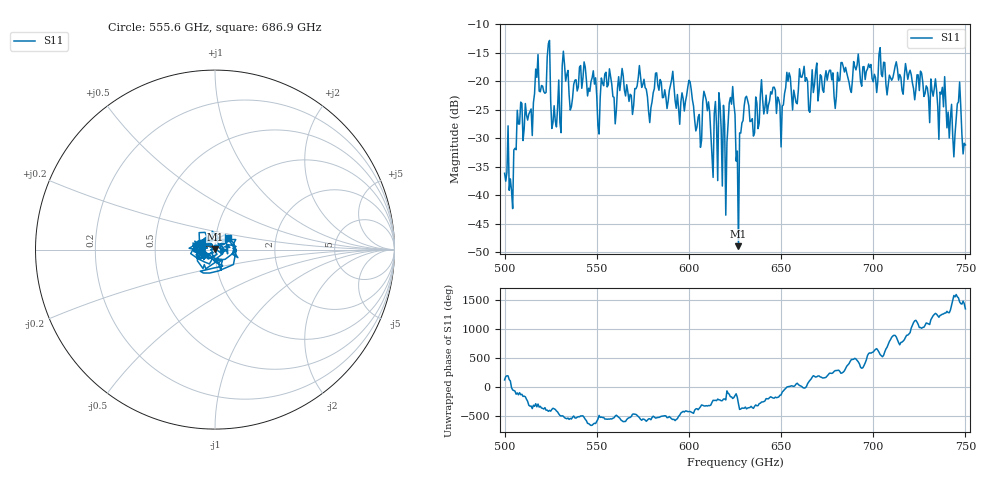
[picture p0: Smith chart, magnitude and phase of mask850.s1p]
!Created with skrf (http://scikit-rf.org).
# GHz S MA R 50.0
!freq magS11 angS11
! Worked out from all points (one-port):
!   401 points, 500 GHz to 750 GHz, reference 50 ohm
!   lowest |S11| = -49.0 dB at 626.9 GHz (marker M1), VSWR 1.01, Z = 50.1 + j0.335 ohm
!   |S11| at or under -10 dB: start of sweep to end of sweep
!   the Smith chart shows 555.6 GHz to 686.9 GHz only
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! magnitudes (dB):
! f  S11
! 500 GHz  -36.2
! 503.8 GHz  -39.2
! 508.1 GHz  -27.5
! 513.8 GHz  -25.4
! 517.5 GHz  -19.3
! 523.8 GHz  -13.4
! 526.9 GHz  -24.3
! 531.2 GHz  -17.3
! 542.5 GHz  -19.5
! 551.2 GHz  -29.3
! 562.5 GHz  -21.6
! 593.8 GHz  -22.3
! 600.6 GHz  -20.1
! 605.6 GHz  -25.8
! 609.4 GHz  -23.3
! 619.4 GHz  -27.6
! 623.1 GHz  -24.0
! 625 GHz  -25.8
! 626.9 GHz  -49.0
! 631.2 GHz  -22.6
! 634.4 GHz  -26.6
! 656.2 GHz  -25.1
! 687.5 GHz  -21.4
! 718.8 GHz  -19.7
! 737.5 GHz  -21.1
! 742.5 GHz  -24.1
! 746.2 GHz  -23.6
! 750 GHz  -31.2
